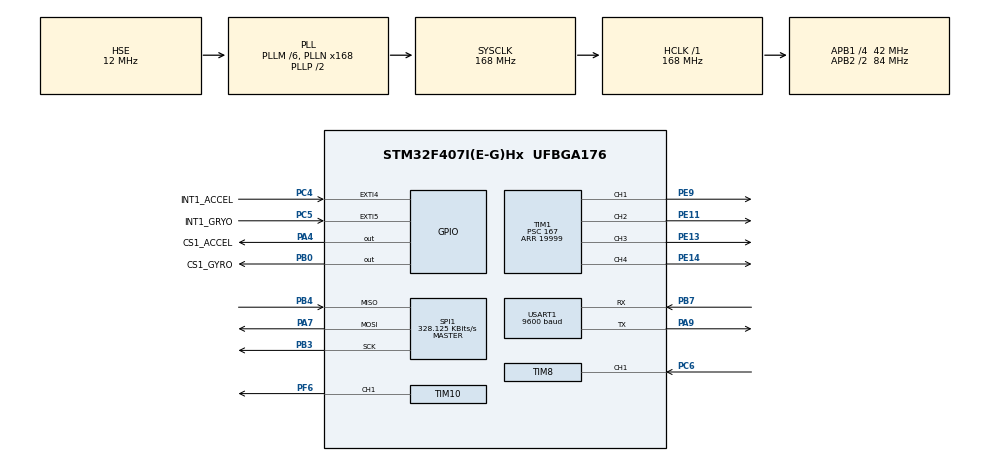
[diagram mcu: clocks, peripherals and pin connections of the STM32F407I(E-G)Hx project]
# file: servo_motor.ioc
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Dma.Request0=SPI1_RX
Dma.Request1=SPI1_TX
Dma.Request2=USART1_TX
Dma.SPI1_RX.0.Direction=DMA_PERIPH_TO_MEMORY
Dma.SPI1_RX.0.FIFOMode=DMA_FIFOMODE_DISABLE
Dma.SPI1_RX.0.Instance=DMA2_Stream2
Dma.SPI1_RX.0.MemDataAlignment=DMA_MDATAALIGN_BYTE
Dma.SPI1_RX.0.MemInc=DMA_MINC_ENABLE
Dma.SPI1_RX.0.Mode=DMA_NORMAL
Dma.SPI1_RX.0.PeriphDataAlignment=DMA_PDATAALIGN_BYTE
Dma.SPI1_RX.0.PeriphInc=DMA_PINC_DISABLE
Dma.SPI1_RX.0.Priority=DMA_PRIORITY_VERY_HIGH
Dma.SPI1_TX.1.Direction=DMA_MEMORY_TO_PERIPH
Dma.SPI1_TX.1.FIFOMode=DMA_FIFOMODE_DISABLE
Dma.SPI1_TX.1.Instance=DMA2_Stream3
Dma.SPI1_TX.1.MemDataAlignment=DMA_MDATAALIGN_BYTE
Dma.SPI1_TX.1.MemInc=DMA_MINC_ENABLE
Dma.SPI1_TX.1.Mode=DMA_NORMAL
Dma.SPI1_TX.1.PeriphDataAlignment=DMA_PDATAALIGN_BYTE
Dma.SPI1_TX.1.PeriphInc=DMA_PINC_DISABLE
Dma.SPI1_TX.1.Priority=DMA_PRIORITY_HIGH
Dma.USART1_TX.2.Direction=DMA_MEMORY_TO_PERIPH
Dma.USART1_TX.2.FIFOMode=DMA_FIFOMODE_DISABLE
Dma.USART1_TX.2.Instance=DMA2_Stream7
Dma.USART1_TX.2.MemDataAlignment=DMA_MDATAALIGN_BYTE
Dma.USART1_TX.2.MemInc=DMA_MINC_ENABLE
Dma.USART1_TX.2.Mode=DMA_NORMAL
Dma.USART1_TX.2.PeriphDataAlignment=DMA_PDATAALIGN_BYTE
Dma.USART1_TX.2.PeriphInc=DMA_PINC_DISABLE
Dma.USART1_TX.2.Priority=DMA_PRIORITY_VERY_HIGH
Mcu.Family=STM32F4
Mcu.Name=STM32F407I(E-G)Hx
Mcu.Package=UFBGA176
NVIC.DMA2_Stream2_IRQn=true\:5\:0\:true\:false\:false\:false\:false
NVIC.DMA2_Stream3_IRQn=true\:0\:0\:false\:false\:false\:false\:false
NVIC.DMA2_Stream7_IRQn=true\:0\:0\:false\:false\:true\:false\:true
NVIC.EXTI4_IRQn=true\:0\:0\:false\:false\:true\:true\:true
NVIC.EXTI9_5_IRQn=true\:0\:0\:false\:false\:true\:true\:true
NVIC.PriorityGroup=NVIC_PRIORITYGROUP_4
NVIC.TIM8_CC_IRQn=true\:0\:0\:false\:false\:true\:true\:true
NVIC.USART1_IRQn=true\:0\:0\:false\:false\:true\:true\:true
PA13.Mode=Serial_Wire
PA13.Signal=SYS_JTMS-SWDIO
PA14.Mode=Serial_Wire
PA14.Signal=SYS_JTCK-SWCLK
PA4.GPIO_Label=CS1_ACCEL
PA4.GPIO_ModeDefaultOutputPP=GPIO_MODE_OUTPUT_PP
PA4.GPIO_PuPd=GPIO_PULLUP
PA4.GPIO_Speed=GPIO_SPEED_FREQ_HIGH
PA4.PinState=GPIO_PIN_SET
PA4.Signal=GPIO_Output
PA7.Mode=Full_Duplex_Master
PA7.Signal=SPI1_MOSI
PA9.Mode=Asynchronous
PA9.Signal=USART1_TX
PB0.GPIO_Label=CS1_GYRO
PB0.GPIO_PuPd=GPIO_PULLUP
PB0.GPIO_Speed=GPIO_SPEED_FREQ_HIGH
PB0.PinState=GPIO_PIN_SET
PB0.Signal=GPIO_Output
PB3.Mode=Full_Duplex_Master
PB3.Signal=SPI1_SCK
PB4.Mode=Full_Duplex_Master
PB4.Signal=SPI1_MISO
PB7.Mode=Asynchronous
PB7.Signal=USART1_RX
PC4.GPIO_Label=INT1_ACCEL
PC4.GPIO_ModeDefaultEXTI=GPIO_MODE_IT_FALLING
PC4.GPIO_PuPd=GPIO_PULLUP
PC4.Signal=GPXTI4
PC5.GPIO_Label=INT1_GRYO
PC5.GPIO_ModeDefaultEXTI=GPIO_MODE_IT_FALLING
PC5.GPIO_PuPd=GPIO_PULLUP
PC5.Signal=GPXTI5
PC6.GPIO_PuPd=GPIO_PULLUP
PC6.GPIO_Speed=GPIO_SPEED_FREQ_HIGH
PC6.Signal=S_TIM8_CH1
PE11.GPIO_PuPd=GPIO_PULLUP
PE11.GPIO_Speed=GPIO_SPEED_FREQ_HIGH
PE11.Signal=S_TIM1_CH2
PE13.GPIO_PuPd=GPIO_PULLUP
PE13.GPIO_Speed=GPIO_SPEED_FREQ_HIGH
PE13.Signal=S_TIM1_CH3
PE14.GPIO_PuPd=GPIO_PULLUP
PE14.GPIO_Speed=GPIO_SPEED_FREQ_HIGH
PE14.Signal=S_TIM1_CH4
PE9.GPIO_PuPd=GPIO_PULLUP
PE9.GPIO_Speed=GPIO_SPEED_FREQ_HIGH
PE9.Signal=S_TIM1_CH1
PF6.GPIO_PuPd=GPIO_PULLUP
PF6.GPIO_Speed=GPIO_SPEED_FREQ_HIGH
PF6.Signal=S_TIM10_CH1
PH0-OSC_IN.Mode=HSE-External-Oscillator
PH0-OSC_IN.Signal=RCC_OSC_IN
PH1-OSC_OUT.Mode=HSE-External-Oscillator
PH1-OSC_OUT.Signal=RCC_OSC_OUT
PI7.GPIO_PuPd=GPIO_PULLUP
PI7.GPIO_Speed=GPIO_SPEED_FREQ_HIGH
PI7.Signal=S_TIM8_CH3
ProjectManager.HeapSize=0x2000
ProjectManager.StackSize=0x2000
ProjectManager.TargetToolchain=MDK-ARM V5
RCC.48MHZClocksFreq_Value=48000000
RCC.AHBFreq_Value=168000000
RCC.APB1CLKDivider=RCC_HCLK_DIV4
RCC.APB1Freq_Value=42000000
RCC.APB1TimFreq_Value=84000000
RCC.APB2CLKDivider=RCC_HCLK_DIV2
RCC.APB2Freq_Value=84000000
RCC.APB2TimFreq_Value=168000000
RCC.CortexFreq_Value=168000000
RCC.HCLKFreq_Value=168000000
RCC.HSE_VALUE=12000000
RCC.HSI_VALUE=16000000
RCC.LSE_VALUE=32768
RCC.PLLM=6
RCC.PLLN=168
RCC.PLLQ=7
RCC.PLLSourceVirtual=RCC_PLLSOURCE_HSE
RCC.RCC_RTC_Clock_SourceVirtual=RCC_RTCCLKSOURCE_HSE_DIV30
RCC.RCC_RTC_Clock_Source_FROM_HSE=RCC_RTCCLKSOURCE_HSE_DIV30
RCC.SYSCLKFreq_VALUE=168000000
RCC.SYSCLKSource=RCC_SYSCLKSOURCE_PLLCLK
RCC.VCOOutputFreq_Value=336000000
SH.S_TIM10_CH1.0=TIM10_CH1,PWM Generation1 CH1
SH.S_TIM1_CH1.0=TIM1_CH1,PWM Generation1 CH1
SH.S_TIM1_CH2.0=TIM1_CH2,PWM Generation2 CH2
SH.S_TIM1_CH3.0=TIM1_CH3,PWM Generation3 CH3
SH.S_TIM1_CH4.0=TIM1_CH4,PWM Generation4 CH4
SH.S_TIM8_CH1.0=TIM8_CH1,Input_Capture1_from_TI1
SH.S_TIM8_CH3.0=TIM8_CH3
SPI1.BaudRatePrescaler=SPI_BAUDRATEPRESCALER_256
SPI1.CLKPhase=SPI_PHASE_2EDGE
SPI1.CLKPolarity=SPI_POLARITY_HIGH
SPI1.CalculateBaudRate=328.125 KBits/s
SPI1.Direction=SPI_DIRECTION_2LINES
SPI1.Mode=SPI_MODE_MASTER
SPI1.VirtualType=VM_MASTER
TIM1.Channel-PWM\ Generation1\ CH1=TIM_CHANNEL_1
TIM1.Channel-PWM\ Generation2\ CH2=TIM_CHANNEL_2
TIM1.Channel-PWM\ Generation3\ CH3=TIM_CHANNEL_3
TIM1.Channel-PWM\ Generation4\ CH4=TIM_CHANNEL_4
TIM1.Period=19999
TIM1.Prescaler=167
TIM1.Pulse-PWM\ Generation1\ CH1=2000
TIM1.Pulse-PWM\ Generation2\ CH2=2000
TIM1.Pulse-PWM\ Generation3\ CH3=2000
TIM1.Pulse-PWM\ Generation4\ CH4=2000
TIM10.Channel=TIM_CHANNEL_1
TIM10.Period=4999
TIM8.Channel-Input_Capture1_from_TI1=TIM_CHANNEL_1
TIM8.Period=0xffff
TIM8.Prescaler=2564
USART1.BaudRate=9600
USART1.VirtualMode=VM_ASYNC
VP_TIM10_VS_ClockSourceINT.Mode=Enable_Timer
VP_TIM1_VS_ClockSourceINT.Mode=Internal
board=custom

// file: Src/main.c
/* USER CODE BEGIN Header */
/**
  ******************************************************************************
  * @file           : main.c
  * @brief          : Main program body
  ******************************************************************************
  * @attention
  *
  * <h2><center>&copy; Copyright (c) 2019 STMicroelectronics.
  * All rights reserved.</center></h2>
  *
  * This software component is licensed by ST under BSD 3-Clause license,
  * the "License"; You may not use this file except in compliance with the
  * License. You may obtain a copy of the License at:
  *                        opensource.org/licenses/BSD-3-Clause
  *
  ******************************************************************************
  */
/* USER CODE END Header */
#include "main.h"
#include "dma.h"
#include "spi.h"
#include "tim.h"
#include "usart.h"
#include "gpio.h"

/* USER CODE BEGIN Includes */
#include "bsp_usart.h"
#include <stdio.h>
#include <stdarg.h>
#include "string.h"
#include "BMI088driver.h"
#include "ANO.h"
/* USER CODE END Includes */

void SystemClock_Config(void);

/* USER CODE BEGIN 0 */

//I'd like to thank this author who did me such a huge favour in pwm capture.
//https://controllerstech.com/how-to-use-input-capture-in-stm32/
//for ANO, I learnt from this tutorial
//https://www.bilibili.com/video/BV1cJ411N7P4/?spm_id_from=333.788.videocard.6

//----------------------------IMU-----------------------------------------------------//
fp32 gyro[3], accel[3], temp;

//-------------------------------------------------ANO--------------------------------------------------------------------------------------//

int trans_scale_gyro = 1e5;
int trans_scale_acce = 1e3;
#define BYTE0(dwTemp) (*( (char *)(&dwTemp)     ))
#define BYTE1(dwTemp) (*( (char *)(&dwTemp)+1     ))
#define BYTE2(dwTemp) (*( (char *)(&dwTemp)+2    ))
#define BYTE3(dwTemp) (*( (char *)(&dwTemp)+3    ))

//static uint8_t TxBuffer[256];
//static uint8_t TxCounter=0;
//static uint8_t count = 0;
//uint8_t Datatosend[100]; //int ANO
//void Uart1_Put_Buf(unsigned char *Datatosend, uint8_t data_num);
//void ANOINT(int16_t _a, int16_t _b, int32_t _c);

//unsigned int ANO
uint8_t testdatatosend[50];
void TestSendData(uint8_t *dataToSend, uint8_t length);
void Test_Send_User (int16_t data1, int16_t data2, int16_t data3,
					int16_t data4, int16_t data5, int16_t data6,
					int16_t data7,int16_t data8,int16_t data9,
					int16_t data10);

//-------------------------------------------ANO_END---------------------------------------//

//testing
uint16_t cont1 =0;
uint8_t flip=0;
uint8_t times=0;
float t_pwm = 1600;
uint16_t ref_hz = 300;

//capture freq
char str[12];
char str2[12];
float main_clock_freq = 168e6;
uint16_t psc_val = 2564;     ///range = 1hz to 13kHZ
uint16_t ARR_val = 0xffff;
float timer_counting_freq;
float IC_Value1=0.0;
float IC_Value2=0.0;
float Diff = 0.0;
float freq = 0.0;
uint8_t Is_first_capture=0; //0-not captured, 1- captured

//pid part
float freq_to_m_rpm;
float motor_to_wheel;
float e_pre=0;
float e_now=0;
float delta_e=0;
float delta_t=1;  //This is changing, hard to capture?
float I_e=0;
float kp=0.0001;
float ki=0.00005;
float kd=0.00001;

void HAL_TIM_IC_CaptureCallback(TIM_HandleTypeDef *htim)
{
	if(htim->Channel == HAL_TIM_ACTIVE_CHANNEL_1) //If tim8 ch1 prompts an interrupt
	{
		if(Is_first_capture==0) //if first captured?
		{
			IC_Value1=HAL_TIM_ReadCapturedValue(htim,TIM_CHANNEL_1); //Read the timestamp
			Is_first_capture=1;
		}

		else if (Is_first_capture) //not the first capture
		{
			IC_Value2 = HAL_TIM_ReadCapturedValue(htim,TIM_CHANNEL_1); //Record the second capture
			if(IC_Value2 > IC_Value1)
								      /*
										Since we have adjusted psc to make sure
										the time difference between the two values are smaller
										than the time needed for counter to count from 0 to arr,
										then there are only two cases: IC2 and IC1 are on the same slope
										in which IC2 >ic1
										OR, IC2 and ic1 are on different slope in which ic2 MUST be smaller
										than ic1
										*/
			{
				Diff = IC_Value2 - IC_Value1;
			}
			else if(IC_Value2 < IC_Value1) //On different slope
			{
				Diff=((ARR_val-IC_Value1)+IC_Value2) +1; //i don't understand why plus 1;
			}
			else
			{
				Error_Handler();  //Built in hal func for which i have no idea what it is doing
			}
			//freq = (168e6/72)/Diff;
			freq = (timer_counting_freq)/Diff;
									/*
									//for psc = 72
									//168e6/72 is the freq of the timer, where 72 is the psc
									//168e6/72 gives how quick the counter is counting from 0 to ARR
									//So the timer counts every (72/168e6=4.2e-7) seconds and takes
									// 4.2e-7 *ARR(65536) = 0.028 seconds to reach ARR
									//So we need to make sure that the time difference between two
									//rising edge is within 0.028 seconds(as in this mode
									//when rising edge is detected and this function is called,
									// the current counting number will not be reset to zero)
									//otherwise the algo will fail
									//in other words, the minimum freq that we can detect
									// is (168e6/72)/ARR = 35.6 = 1/0.028
									//If the minimum freq required is even lower, we can adjust
									// the psc (72 here) to lower the mini detectable freq
									//The max detectable freq is the counting freq of the tim
									//or for a better precision 2 or 3 or 5times lower than
									// the couting freq of the tim
									//so here maxf = (168e6/72)/accurate_factor(5) = 466 kHz.
									//so detectable range is 35.6 to 466 khz

									//for psc = 2564  range = 1hz to 13kHZ
									//Might change to this psc in the future---- did --very good result
									*/

			Is_first_capture =0; //reset ready for next capture.
		}

	}
}
/* USER CODE END 0 */

int main(void)
{

  /* MCU Configuration--------------------------------------------------------*/

  /* Reset of all peripherals, Initializes the Flash interface and the Systick. */
  HAL_Init();

  /* Configure the system clock */
  SystemClock_Config();

  /* Initialize all configured peripherals */
  MX_GPIO_Init();
  MX_DMA_Init();
  MX_TIM8_Init();
  MX_TIM1_Init();
  MX_USART1_UART_Init();
  MX_SPI1_Init();
  MX_TIM10_Init();
  /* USER CODE BEGIN 2 */
	while(BMI088_init())  //Init the IMU
    {
        ;
    }

	usart1_tx_dma_init();
    HAL_TIM_Base_Start(&htim1);
    HAL_TIM_PWM_Start(&htim1, TIM_CHANNEL_1);
    HAL_TIM_PWM_Start(&htim1, TIM_CHANNEL_2);
    HAL_TIM_PWM_Start(&htim1, TIM_CHANNEL_3);
	__HAL_TIM_SetCompare(&htim1, TIM_CHANNEL_1, 1500);
	//Tim8 ch1 for capture
	HAL_TIM_IC_Start_IT(&htim8,TIM_CHANNEL_1);
	timer_counting_freq = main_clock_freq/psc_val;
	HAL_Delay(3000);
	//__HAL_TIM_SetCompare(&htim1, TIM_CHANNEL_1, 1600);
	//HAL_Delay(3000);
  /* USER CODE END 2 */

  /* Infinite loop */
  /* USER CODE BEGIN WHILE */
  while (1)
  {

/*
//20ms ARR 20000
//1600 motor: low back , wheel small to left (driver view) ----- 1.6ms ----------never give motor value greater than 1500
//1400 motor: low forward, wheel small to left -------------------1.4ms

//wheel
//left max-----1800 ----1.8ms
//right max ---- 1100  --- 1.2ms

//motor
//1500 zero ----------------------1.5ms   ------- 0hz
//2000 max ------------------------2ms -- forward  ---- 753~761hz
//could be higher
//never put value smaller than 1500;
  */

///*
//---------------------------------------Old_print_func-------------------------------------------//

//		sprintf(str2, "%d", ref_hz);
//		sprintf(str, "%f", freq);
//
//		//HAL_UART_Transmit(&huart1, "Actual:", 12, 100);
//		HAL_UART_Transmit(&huart1, str, 12, 100);
//		HAL_UART_Transmit(&huart1, "    \r\n", 12, 100);
//
//		//HAL_UART_Transmit(&huart1, "ref:", 12, 100);
//		HAL_UART_Transmit(&huart1, str2, 12, 100);
//		HAL_UART_Transmit(&huart1, "    \r\n", 12, 100);
//---------------------------------------Old_print_func-------------------------------------------//
//*/

//-------------------------------------PID_adjust----------------------------------------------//
//	if(flip==0)
//	{
//		cont1 ++;
//		if (cont1 >100)
//			{
//				ref_hz +=600;
//				if(ref_hz<700)
//				{
//					ref_hz = ref_hz;
//				}
//				else
//				{
//					ref_hz =400;
//				}
//
//				times ++;
//
//				if(times >1)
//				{
//					flip=1;
//					times = 0;
//				}
//
//
//				cont1 = 0;
//			}
//
//	}
//
//	if(flip==1)
//	{
//		cont1 ++;
//		if (cont1 >100)
//			{
//				ref_hz -=600;
//				if(ref_hz<701 && ref_hz>200)
//				{
//					ref_hz = ref_hz;
//				}
//				else
//				{
//					ref_hz =200;
//				}
//
//				times ++;
//
//				if(times >1)
//				{
//					flip=0;
//					times = 0;
//				}
//
//				cont1 = 0;
//			}
//
//	}

//--------------------------------------------PID_adjust------------------------------------------------//

//-------------------------------------PID----------------------------------------------------//

//	e_pre = e_now; // a possible bug here
//
//	e_now = ref_hz - freq;  //positive means low speed, so kp is positive
//	I_e += e_now;   //ki positive

//	delta_e = (e_now - e_pre)/delta_t;   /// watch sign   ---- possible bugs here
//	//if the gradient is increasing

//	t_pwm = kp*e_now + ki*I_e + kd*delta_e;
//	if(t_pwm>1.0)
//	{
//		t_pwm = 1.0;
//	}
//	if(t_pwm<-1.0) t_pwm=-1.0;
//
//	t_pwm =1500 + t_pwm*500; //motor moves forward range: 1500 to 2000  (1.5ms to 2ms)
//	if(t_pwm<1500) t_pwm=1500;
//	if(t_pwm>2000) t_pwm=2000;
//	__HAL_TIM_SetCompare(&htim1, TIM_CHANNEL_1, t_pwm);

//-------------------------------------PID----------------------------------------------------//

//---------------------------------------IMU----------------------------------------------//
    BMI088_read(gyro, accel, &temp);
//---------------------------------------IMU_END----------------------------------------------//

//--------------------------------------ANO-----------------------------------------------//
	HAL_Delay(10);  //20ms
	gyro[0] *= trans_scale_gyro;
	gyro[1] *= trans_scale_gyro;
	gyro[2] *= trans_scale_gyro;
	accel[0] *= trans_scale_acce;
	accel[1] *= trans_scale_acce;
	accel[2] *= trans_scale_acce;

	Test_Send_User(ref_hz,freq,gyro[0],gyro[1],gyro[2],accel[0],accel[1],accel[2],temp,10);

//--------------------------------------ANO-----------------------------------------------//

//while end scope
	}

    /* USER CODE END WHILE */

}

void SystemClock_Config(void)
{
  RCC_OscInitTypeDef RCC_OscInitStruct = {0};
  RCC_ClkInitTypeDef RCC_ClkInitStruct = {0};

  /** Configure the main internal regulator output voltage
  */
  __HAL_RCC_PWR_CLK_ENABLE();
  __HAL_PWR_VOLTAGESCALING_CONFIG(PWR_REGULATOR_VOLTAGE_SCALE1);
  /** Initializes the RCC Oscillators according to the specified parameters
  * in the RCC_OscInitTypeDef structure.
  */
  RCC_OscInitStruct.OscillatorType = RCC_OSCILLATORTYPE_HSE;
  RCC_OscInitStruct.HSEState = RCC_HSE_ON;
  RCC_OscInitStruct.PLL.PLLState = RCC_PLL_ON;
  RCC_OscInitStruct.PLL.PLLSource = RCC_PLLSOURCE_HSE;
  RCC_OscInitStruct.PLL.PLLM = 6;
  RCC_OscInitStruct.PLL.PLLN = 168;
  RCC_OscInitStruct.PLL.PLLP = RCC_PLLP_DIV2;
  RCC_OscInitStruct.PLL.PLLQ = 7;
  if (HAL_RCC_OscConfig(&RCC_OscInitStruct) != HAL_OK)
  {
    Error_Handler();
  }
  /** Initializes the CPU, AHB and APB buses clocks
  */
  RCC_ClkInitStruct.ClockType = RCC_CLOCKTYPE_HCLK|RCC_CLOCKTYPE_SYSCLK
                              |RCC_CLOCKTYPE_PCLK1|RCC_CLOCKTYPE_PCLK2;
  RCC_ClkInitStruct.SYSCLKSource = RCC_SYSCLKSOURCE_PLLCLK;
  RCC_ClkInitStruct.AHBCLKDivider = RCC_SYSCLK_DIV1;
  RCC_ClkInitStruct.APB1CLKDivider = RCC_HCLK_DIV4;
  RCC_ClkInitStruct.APB2CLKDivider = RCC_HCLK_DIV2;

  if (HAL_RCC_ClockConfig(&RCC_ClkInitStruct, FLASH_LATENCY_5) != HAL_OK)
  {
    Error_Handler();
  }
}

/* USER CODE BEGIN 4 */
//--------------------------------------ANO-----------------------------------------------//

///*
void TestSendData(uint8_t *dataToSend, uint8_t length)  //not using dma
{
	//HAL_UART_Transmit(&huart1,(uint8_t *)&testdatatosend, length, 0xffff);
	HAL_UART_Transmit_DMA(&huart1,(uint8_t *)&testdatatosend,length);

}

void Test_Send_User (int16_t data1, int16_t data2, int16_t data3,
					int16_t data4, int16_t data5, int16_t data6,
					int16_t data7,int16_t data8,int16_t data9,
					int16_t data10)
{
	uint8_t _cnt=0;
	testdatatosend[_cnt++]=0xAA; //head
	testdatatosend[_cnt++]=0x05;  //target address
	testdatatosend[_cnt++]=0xAF; //receriver add ??  these two are default -- don't need to change
	testdatatosend[_cnt++]=0xF1;  //function id --- just choice F1
	testdatatosend[_cnt++]=0;   // length of data --  set to zero for now

	testdatatosend[_cnt++]=BYTE1(data1);
	testdatatosend[_cnt++]=BYTE0(data1);

	testdatatosend[_cnt++]=BYTE1(data2);
	testdatatosend[_cnt++]=BYTE0(data2);

	testdatatosend[_cnt++]=BYTE1(data3);
	testdatatosend[_cnt++]=BYTE0(data3);

	testdatatosend[_cnt++]=BYTE1(data4);
	testdatatosend[_cnt++]=BYTE0(data4);

	testdatatosend[_cnt++]=BYTE1(data5);
	testdatatosend[_cnt++]=BYTE0(data5);

	testdatatosend[_cnt++]=BYTE1(data6);
	testdatatosend[_cnt++]=BYTE0(data6);

	testdatatosend[_cnt++]=BYTE1(data7);
	testdatatosend[_cnt++]=BYTE0(data7);

	testdatatosend[_cnt++]=BYTE1(data8);
	testdatatosend[_cnt++]=BYTE0(data8);

	testdatatosend[_cnt++]=BYTE1(data9);
	testdatatosend[_cnt++]=BYTE0(data9);

	testdatatosend[_cnt++]=BYTE1(data10);
	testdatatosend[_cnt++]=BYTE0(data10);

	testdatatosend[4] = _cnt - 5;    //the fifth bit [4] stores the length of data, we set this to zero initially, now we need to calculate
									//_cnt stores the length of the whole signal up till now, we minus 5(the first five bits eg header, target address balalla to get the length of data
									//see
									//https://www.bilibili.com/video/BV1TJ411r7a3?from=search&seid=16506637512618591906
									//

	uint8_t sum = 0;

	for(uint8_t i=0; i<_cnt; i++)
		sum += testdatatosend[i];

	testdatatosend[_cnt++]=sum;   //sum is the sum check bits, the last bits in the signal

	TestSendData(testdatatosend, _cnt);  //using dma
	//HAL_UART_Transmit_DMA(&huart1,testdatatosend,_cnt);
	//usart1_tx_dma_enable(testdatatosend,_cnt); //use dma
}
//*/

//void Uart1_Put_Buf(unsigned char *Datatosend, uint8_t data_num)
//{
//	for(uint8_t i=0; i<data_num; i++)
//
//}

//void ANOINT(int16_t _a, int16_t _b, int32_t _c)
//{
//	uint8_t _cnt = 0;
//	//https://www.bilibili.com/video/BV147411c7Gn  from 7mins
//	Datatosend[_cnt++] = 0xAA; //Head
//	Datatosend[_cnt++] = 0xFF; //Target address
//	Datatosend[_cnt++] = 0xF1;  //ID
//	Datatosend[_cnt++] = 8;   //size of data to send in byte
//	//int16 is 2 byte int32 is 4 byte
//	//so for three data 2+2+4 = 8 bytes
//
//
//	//The following code is decomposing the data(no idea)
//	Datatosend[_cnt++] = BYTE0(_a); //a has two byte
//	Datatosend[_cnt++] = BYTE1(_a);
//
//	Datatosend[_cnt++] = BYTE0(_b);
//	Datatosend[_cnt++] = BYTE1(_b);
//
//	Datatosend[_cnt++] = BYTE0(_c);  //since c has four bytes
//	Datatosend[_cnt++] = BYTE1(_c);
//	Datatosend[_cnt++] = BYTE2(_c);
//	Datatosend[_cnt++] = BYTE3(_c);
//
//
//	//checking part
//	uint8_t sc= 0;  //sum check
//	uint8_t ac= 0;  //addtional check  --- see video and pdf
//	for(uint8_t i=0; i<Datatosend[3]+4; i++) //Datatosend[3] = 8  which i the size of data to send in byte
//	{
//		sc += Datatosend[i];
//		ac += sc;   ///no idea
//	}
//
//	Datatosend[_cnt++] = sc; // put checking bits into the signal
//	Datatosend[_cnt++] = ac;
//
//}
//--------------------------------------ANO_END-----------------------------------------------//
/* USER CODE END 4 */

void Error_Handler(void)
{
}

/************************ (C) COPYRIGHT STMicroelectronics *****END OF FILE****/
